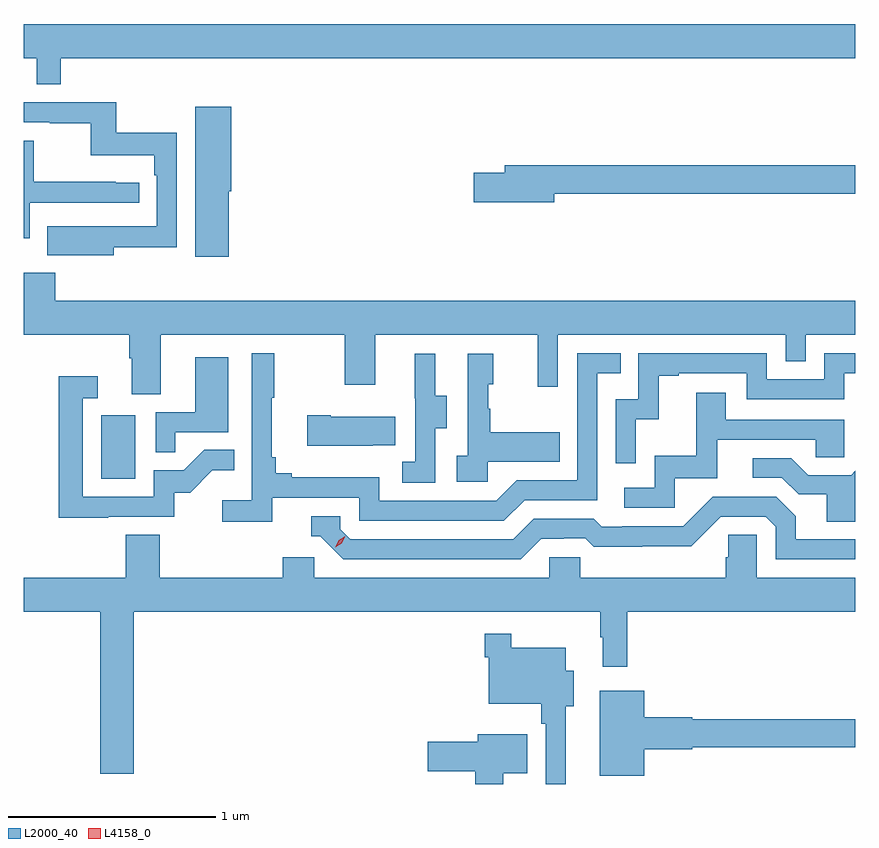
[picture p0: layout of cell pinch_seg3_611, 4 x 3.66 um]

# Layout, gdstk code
import gdstk
lib = gdstk.Library(unit=1e-6, precision=1e-09)
def R(c, l, rs):  # rectangles x0, y0, x1, y1
    for r in rs: c.add(gdstk.rectangle(r[:2], r[2:], *l))
def P(c, l, *ps):  # polygons
    for p in ps: c.add(gdstk.Polygon(p, *l))
L2000_40 = (2000, 40)
L4158_0 = (4158, 0)

pinch_seg3_611 = lib.new_cell('pinch_seg3_611')
R(pinch_seg3_611, L2000_40, [(1079.96,674.916,1080.124,675.223)])
P(pinch_seg3_611, L2000_40, [(1079.765,676.94),(1083.587,676.94),(1083.587,677.104),(1079.587,677.104),(1079.587,676.94),(1079.649,676.94),(1079.649,676.813),(1079.765,676.813)],
  [(1080.019,676.03),(1080.324,676.03),(1080.324,676.582),(1080.031,676.582),(1080.031,676.728),(1079.587,676.728),(1079.587,676.632),(1079.713,676.632),(1079.713,676.627),(1079.91,676.627),(1079.91,676.472),(1080.215,676.472),(1080.215,676.376),(1080.228,676.376),(1080.228,676.131),(1079.915,676.131),(1079.915,676.132),(1079.701,676.132),(1079.701,675.992),(1080.019,675.992)],
  [(1080.574,676.299),(1080.586,676.299),(1080.586,676.705),(1080.413,676.705),(1080.413,675.984),(1080.574,675.984)],
  [(1079.616,676.245),(1080.142,676.245),(1080.142,676.341),(1080.029,676.341),(1080.029,676.346),(1079.636,676.346),(1079.636,676.542),(1079.587,676.542),(1079.587,676.073),(1079.616,676.073)],
  [(1082.14,676.288),(1083.587,676.288),(1083.587,676.424),(1081.901,676.424),(1081.901,676.388),(1081.752,676.388),(1081.752,676.246),(1082.14,676.246)],
  [(1080.247,675.608),(1081.132,675.608),(1081.132,675.369),(1081.279,675.369),(1081.279,675.608),(1082.06,675.608),(1082.06,675.36),(1082.157,675.36),(1082.157,675.608),(1083.252,675.608),(1083.252,675.481),(1083.348,675.481),(1083.348,675.608),(1083.587,675.608),(1083.587,675.772),(1079.738,675.772),(1079.738,675.907),(1079.587,675.907),(1079.587,675.608),(1080.095,675.608),(1080.095,675.496),(1080.107,675.496),(1080.107,675.322),(1080.247,675.322)],
  [(1080.782,674.826),(1081.2,674.826),(1081.2,674.715),(1081.897,674.715),(1081.996,674.814),(1082.346,674.814),(1082.346,675.423),(1082.459,675.423),(1082.459,675.519),(1082.25,675.519),(1082.25,674.91),(1081.959,674.91),(1081.86,674.811),(1081.296,674.811),(1081.296,674.923),(1080.877,674.923),(1080.877,674.942),(1080.8,674.942),(1080.8,675.019),(1080.781,675.019),(1080.781,675.307),(1080.793,675.307),(1080.793,675.52),(1080.684,675.52),(1080.684,674.812),(1080.543,674.812),(1080.543,674.71),(1080.782,674.71)],
  [(1082.532,675.203),(1082.642,675.203),(1082.642,675.411),(1082.737,675.411),(1082.737,675.423),(1083.066,675.423),(1083.066,675.3),(1083.534,675.3),(1083.534,675.423),(1083.587,675.423),(1083.587,675.519),(1083.438,675.519),(1083.438,675.396),(1083.162,675.396),(1083.162,675.519),(1082.544,675.519),(1082.544,675.3),(1082.436,675.3),(1082.436,674.991),(1082.532,674.991)],
  [(1081.566,675.16),(1081.621,675.16),(1081.621,675.315),(1081.567,675.315),(1081.567,675.517),(1081.469,675.517),(1081.469,675.303),(1081.47,675.303),(1081.47,674.999),(1081.407,674.999),(1081.407,674.896),(1081.566,674.896)],
  [(1081.818,674.999),(1082.165,674.999),(1082.165,675.139),(1081.831,675.139),(1081.831,675.254),(1081.821,675.254),(1081.821,675.372),(1081.846,675.372),(1081.846,675.517),(1081.722,675.517),(1081.722,675.026),(1081.671,675.026),(1081.671,674.901),(1081.818,674.901)],
  [(1080.317,675.141),(1080.571,675.141),(1080.571,675.502),(1080.413,675.502),(1080.413,675.237),(1080.222,675.237),(1080.222,675.043),(1080.317,675.043)],
  [(1079.993,674.733),(1080.312,674.733),(1080.312,674.85),(1080.388,674.85),(1080.495,674.957),(1080.599,674.957),(1080.599,675.056),(1080.455,675.056),(1080.357,674.958),(1080.213,674.958),(1080.213,674.829),(1079.871,674.829),(1079.871,675.303),(1079.944,675.303),(1079.944,675.409),(1079.755,675.409),(1079.755,674.728),(1079.993,674.728)],
  [(1082.718,674.919),(1082.923,674.919),(1082.923,675.105),(1083.397,675.105),(1083.397,675.021),(1083.534,675.021),(1083.534,675.201),(1082.965,675.201),(1082.965,675.331),(1082.821,675.331),(1082.821,675.028),(1082.622,675.028),(1082.622,674.874),(1082.475,674.874),(1082.475,674.778),(1082.718,674.778)],
  [(1081.265,675.077),(1081.373,675.077),(1081.373,675.214),(1081.063,675.214),(1081.063,675.222),(1080.951,675.222),(1080.951,675.074),(1081.265,675.074)],
  [(1083.587,674.954),(1083.567,674.934),(1083.361,674.934),(1083.28,675.015),(1083.093,675.015),(1083.093,674.922),(1083.234,674.922),(1083.314,674.842),(1083.449,674.842),(1083.449,674.71),(1083.587,674.71)],
  [(1082.077,674.628),(1082.184,674.628),(1082.184,674.631),(1082.287,674.631),(1082.329,674.589),(1082.562,674.589),(1082.562,674.591),(1082.798,674.591),(1082.94,674.733),(1083.156,674.733),(1083.204,674.685),(1083.204,674.529),(1083.587,674.529),(1083.587,674.625),(1083.301,674.625),(1083.301,674.735),(1083.207,674.829),(1082.901,674.829),(1082.76,674.688),(1082.467,674.688),(1082.467,674.685),(1082.368,674.685),(1082.329,674.724),(1082.04,674.724),(1081.941,674.625),(1081.158,674.625),(1081.11,674.673),(1081.11,674.736),(1080.971,674.736),(1080.971,674.64),(1081.014,674.64),(1081.125,674.529),(1081.978,674.529)],
  [(1083.587,674.44),(1083.114,674.44),(1083.114,674.648),(1082.977,674.648),(1082.977,674.538),(1082.963,674.538),(1082.963,674.44),(1082.265,674.44),(1082.265,674.538),(1082.115,674.538),(1082.115,674.44),(1080.984,674.44),(1080.984,674.538),(1080.833,674.538),(1080.833,674.44),(1080.242,674.44),(1080.242,674.648),(1080.077,674.648),(1080.077,674.44),(1079.587,674.44),(1079.587,674.276),(1079.956,674.276),(1079.956,673.497),(1080.116,673.497),(1080.116,674.276),(1082.361,674.276),(1082.361,674.153),(1082.372,674.153),(1082.372,674.013),(1082.489,674.013),(1082.489,674.276),(1083.587,674.276)],
  [(1082.194,673.823),(1082.233,673.823),(1082.233,673.993),(1082.194,673.993),(1082.194,674.104),(1081.933,674.104),(1081.933,674.17),(1081.804,674.17),(1081.804,674.057),(1081.824,674.057),(1081.824,673.835),(1082.077,673.835),(1082.077,673.739),(1082.097,673.739),(1082.097,673.448),(1082.194,673.448)],
  [(1082.572,673.616),(1082.802,673.616),(1082.802,673.624),(1083.587,673.624),(1083.587,673.76),(1082.802,673.76),(1082.802,673.768),(1082.572,673.768),(1082.572,673.897),(1082.357,673.897),(1082.357,673.487),(1082.572,673.487)],
  [(1081.894,673.499),(1082.008,673.499),(1082.008,673.687),(1081.772,673.687),(1081.772,673.652),(1081.53,673.652),(1081.53,673.51),(1081.76,673.51),(1081.76,673.448),(1081.894,673.448)])
P(pinch_seg3_611, L4158_0, [(1081.085,674.588),(1081.085,674.588),(1081.102,674.621),(1081.133,674.64),(1081.133,674.64),(1081.133,674.64),(1081.117,674.607),(1081.086,674.588)])

lib.write_gds('pinch_seg3_611.gds')
